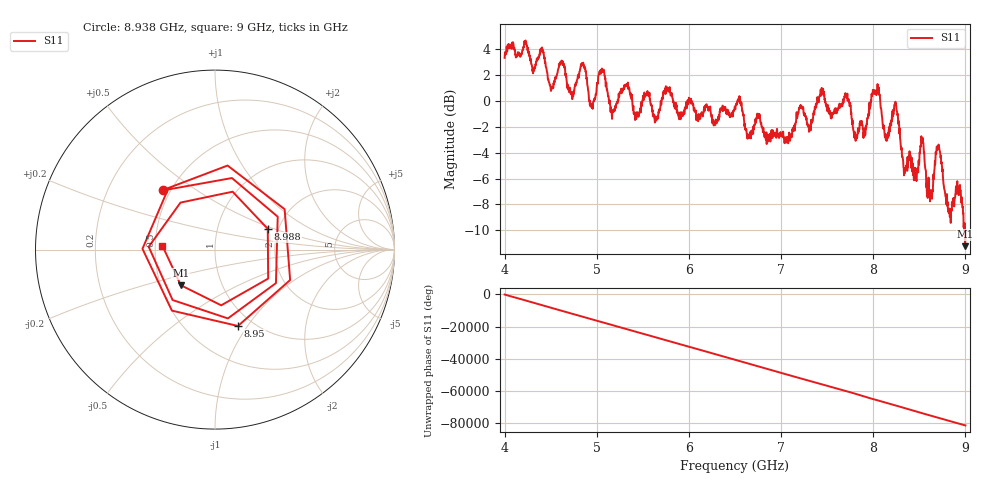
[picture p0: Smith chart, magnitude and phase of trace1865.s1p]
! Created with skrf 1.8.0 (http://scikit-rf.org).
# Hz S RI R 50.0
!freq ReS11 ImS11
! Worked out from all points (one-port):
!   1601 points, 4 GHz to 9 GHz, reference 50 ohm
!   lowest |S11| = -11.2 dB at 8.997 GHz (marker M1), VSWR 1.76, Z = 31.7 - j13.6 ohm
!   |S11| at or under -10 dB: 8.987938 GHz to 8.988046 GHz (107.2 kHz wide, 0.00119 % of centre); 8.993529 GHz to end of sweep
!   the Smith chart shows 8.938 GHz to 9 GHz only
!   S11 on the Smith chart (normalised r, x): 8.938 GHz: 0.45, +0.37; 8.95 GHz: 0.85, -0.90; 8.988 GHz: 1.76, +0.45; 9 GHz: 0.55, +0.03
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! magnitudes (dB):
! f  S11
! 4 GHz  3.3
! 4.509 GHz  1.1
! 4.625 GHz  3.0
! 4.728 GHz  0.6
! 4.856 GHz  2.8
! 4.941 GHz  -0.4
! 5.05 GHz  2.2
! 5.169 GHz  -0.8
! 5.25 GHz  0.7
! 5.875 GHz  -0.9
! 6.5 GHz  -0.5
! 7.125 GHz  -2.3
! 7.438 GHz  0.4
! 7.75 GHz  -0.2
! 7.906 GHz  -2.7
! 8.041 GHz  0.7
! 8.147 GHz  -3.1
! 8.241 GHz  -0.1
! 8.375 GHz  -5.2
! 8.528 GHz  -3.0
! 8.616 GHz  -7.8
! 8.703 GHz  -3.6
! 8.828 GHz  -8.7
! 8.938 GHz  -7.1
! 8.95 GHz  -7.0
! 8.988 GHz  -10.0
! 8.997 GHz  -11.2
! 9 GHz  -10.6
